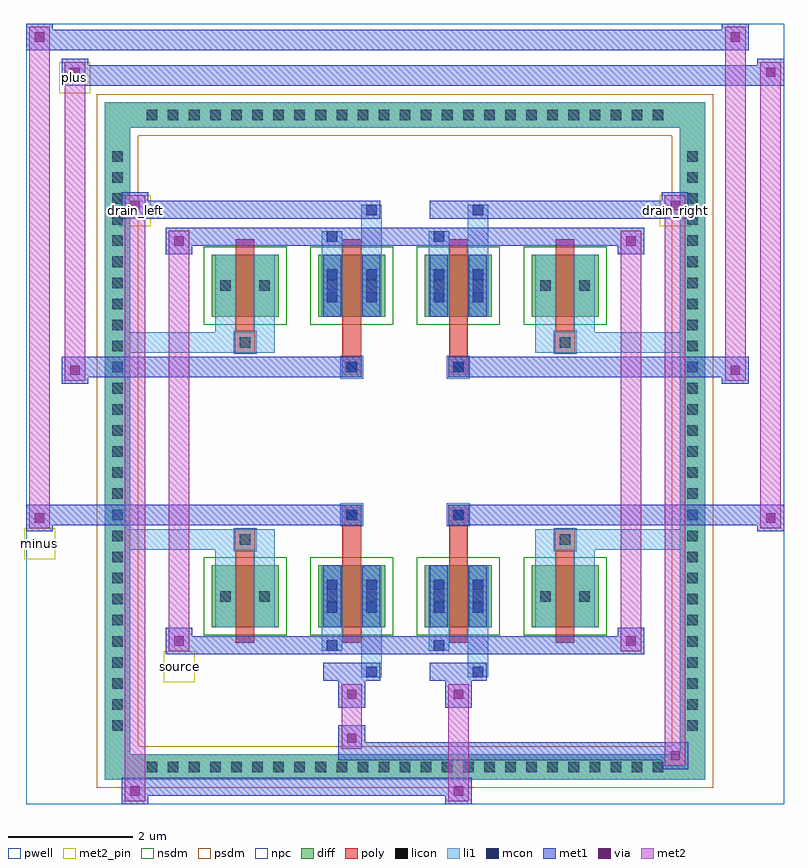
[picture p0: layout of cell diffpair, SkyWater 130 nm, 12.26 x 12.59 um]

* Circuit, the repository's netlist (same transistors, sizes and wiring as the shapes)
* NGSPICE file created from diffpair.ext - technology: sky130A

.subckt diffpair minus drain_right drain_left source plus
X0 a_n968_n1092# a_n968_n1092# a_n968_n1092# a_n968_n1092# sky130_fd_pr__nfet_01v8 ad=0.39 pd=2.78 as=3.12 ps=22.24 w=1 l=0.3
X1 drain_right minus source a_n968_n1092# sky130_fd_pr__nfet_01v8 ad=0.39 pd=2.78 as=0.39 ps=2.78 w=1 l=0.3
X2 drain_right minus source a_n968_n1092# sky130_fd_pr__nfet_01v8 ad=0.39 pd=2.78 as=0.39 ps=2.78 w=1 l=0.3
X3 a_n968_n1092# a_n968_n1092# a_n968_n1092# a_n968_n1092# sky130_fd_pr__nfet_01v8 ad=0.39 pd=2.78 as=0 ps=0 w=1 l=0.3
X4 a_n968_n1092# a_n968_n1092# a_n968_n1092# a_n968_n1092# sky130_fd_pr__nfet_01v8 ad=0.39 pd=2.78 as=0 ps=0 w=1 l=0.3
X5 drain_left plus source a_n968_n1092# sky130_fd_pr__nfet_01v8 ad=0.39 pd=2.78 as=0.39 ps=2.78 w=1 l=0.3
X6 a_n968_n1092# a_n968_n1092# a_n968_n1092# a_n968_n1092# sky130_fd_pr__nfet_01v8 ad=0.39 pd=2.78 as=0 ps=0 w=1 l=0.3
X7 drain_left plus source a_n968_n1092# sky130_fd_pr__nfet_01v8 ad=0.39 pd=2.78 as=0.39 ps=2.78 w=1 l=0.3
.ends

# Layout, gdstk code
import gdstk
lib = gdstk.Library(unit=1e-6, precision=5e-09)
def R(c, l, rs):  # rectangles x0, y0, x1, y1
    for r in rs: c.add(gdstk.rectangle(r[:2], r[2:], *l))
def A(c, l, x, y, w, h, nx, ny, dx, dy):  # array of equal rectangles
    R(c, l, [(x+i*dx, y+j*dy, x+i*dx+w, y+j*dy+h) for i in range(nx) for j in range(ny)])
def P(c, l, *ps):  # polygons
    for p in ps: c.add(gdstk.Polygon(p, *l))
pwell = (64, 44)
diff = (65, 20)
poly = (66, 20)
licon = (66, 44)
li1 = (67, 20)
mcon = (67, 44)
met1 = (68, 20)
via = (68, 44)
met2_pin = (69, 16)
met2 = (69, 20)
nsdm = (93, 44)
psdm = (94, 20)
npc = (95, 20)

diffpair = lib.new_cell('diffpair')
R(diffpair, pwell, [(-6.11,-5.86,6.11,6.73), (-3.43,-4.05,-0.01,-0.825), (0.01,-4.05,3.43,-0.825), (-3.43,0.825,-0.01,4.05), (0.01,0.825,3.43,4.05)])
A(diffpair, diff, -4.285, -5.46, 0.41, 0.41, 25, 2, 0.34, 10.51)
A(diffpair, diff, -4.84, -4.795, 0.41, 0.41, 1, 28, 0, 0.34)
A(diffpair, diff, 4.43, -4.795, 0.41, 0.41, 1, 28, 0, 0.34)
A(diffpair, diff, -3.12, -3.005, 1.08, 1, 4, 2, 1.72, 5.01)
R(diffpair, diff, [(-4.285,-5.46,4.285,-5.05), (-4.84,-4.795,-4.43,4.795), (4.43,-4.795,4.84,4.795), (-4.285,5.05,4.285,5.46)])
P(diffpair, diff, [(4.84,5.46),(-4.84,5.46),(-4.84,-5.05),(-4.43,-5.05),(-4.43,5.05),(4.43,5.05),(4.43,-5.05),(-4.43,-5.05),(-4.84,-5.05),(-4.84,-5.46),(4.84,-5.46)])
A(diffpair, poly, -2.73, -3.255, 0.3, 1.5, 4, 2, 1.72, 5.01)
R(diffpair, poly, [(-2.745,-1.755,-2.415,-1.425), (-2.745,-1.755,-2.415,-1.425), (-1.01,-1.755,-0.71,-1.355), (0.71,-1.755,1.01,-1.355), (2.415,-1.755,2.745,-1.425), (2.415,-1.755,2.745,-1.425), (-1.025,-1.355,-0.695,-1.025), (-1.025,-1.355,-0.695,-1.025), (0.695,-1.355,1.025,-1.025), (0.695,-1.355,1.025,-1.025), (-1.025,1.025,-0.695,1.355), (-1.025,1.025,-0.695,1.355), (0.695,1.025,1.025,1.355), (0.695,1.025,1.025,1.355), (-1.01,1.355,-0.71,1.755), (0.71,1.355,1.01,1.755), (-2.745,1.425,-2.415,1.755), (-2.745,1.425,-2.415,1.755), (2.415,1.425,2.745,1.755), (2.415,1.425,2.745,1.755)])
A(diffpair, licon, -4.165, -5.34, 0.17, 0.17, 25, 2, 0.34, 10.51)
A(diffpair, licon, -4.72, -4.675, 0.17, 0.17, 1, 28, 0, 0.34)
A(diffpair, licon, 4.55, -4.675, 0.17, 0.17, 1, 28, 0, 0.34)
R(diffpair, licon, [(-2.98,-2.59,-2.81,-2.42), (-2.35,-2.59,-2.18,-2.42), (-1.26,-2.59,-1.09,-2.42), (-0.63,-2.59,-0.46,-2.42), (0.46,-2.59,0.63,-2.42), (1.09,-2.59,1.26,-2.42), (2.18,-2.59,2.35,-2.42), (2.81,-2.59,2.98,-2.42), (-2.665,-1.675,-2.495,-1.505), (2.495,-1.675,2.665,-1.505), (-0.945,-1.275,-0.775,-1.105), (0.775,-1.275,0.945,-1.105), (-0.945,1.105,-0.775,1.275), (0.775,1.105,0.945,1.275), (-2.665,1.505,-2.495,1.675), (2.495,1.505,2.665,1.675), (-2.98,2.42,-2.81,2.59), (-2.35,2.42,-2.18,2.59), (-1.26,2.42,-1.09,2.59), (-0.63,2.42,-0.46,2.59), (0.46,2.42,0.63,2.59), (1.09,2.42,1.26,2.59), (2.18,2.42,2.35,2.59), (2.81,2.42,2.98,2.59)])
A(diffpair, li1, -4.245, -5.42, 0.33, 0.33, 25, 2, 0.34, 10.51)
A(diffpair, li1, -4.8, -4.755, 0.33, 0.33, 1, 28, 0, 0.34)
A(diffpair, li1, 4.47, -4.755, 0.33, 0.33, 1, 28, 0, 0.34)
R(diffpair, li1, [(-4.84,-5.46,-4.43,-5.05), (-4.84,-5.46,-4.43,-5.05), (-4.43,-5.46,4.43,-5.05), (4.43,-5.46,4.84,-5.05), (4.43,-5.46,4.84,-5.05), (-4.84,-5.05,-4.43,5.05), (4.43,-5.05,4.84,5.05), (-0.71,-3.81,-0.38,-3.005), (-0.63,-3.81,-0.46,-3.64), (1.01,-3.81,1.34,-3.005), (1.09,-3.81,1.26,-3.64), (-1.34,-3.38,-1.01,-3.005), (-1.26,-3.38,-1.09,-3.21), (0.38,-3.38,0.71,-3.005), (0.46,-3.38,0.63,-3.21), (-3.06,-3.005,-2.73,-2.005), (-2.43,-3.005,-2.1,-2.005), (-1.34,-3.005,-1.01,-2.005), (-0.71,-3.005,-0.38,-2.005), (0.38,-3.005,0.71,-2.005), (1.01,-3.005,1.34,-2.005), (2.1,-3.005,2.43,-2.005), (2.73,-3.005,3.06,-2.005), (-1.26,-2.77,-1.09,-2.6), (-1.26,-2.77,-1.09,-2.24), (-0.63,-2.77,-0.46,-2.6), (-0.63,-2.77,-0.46,-2.24), (0.46,-2.77,0.63,-2.6), (0.46,-2.77,0.63,-2.24), (1.09,-2.77,1.26,-2.6), (1.09,-2.77,1.26,-2.24), (-3.06,-2.67,-2.73,-2.34), (-2.43,-2.67,-2.1,-2.34), (-1.34,-2.67,-1.01,-2.34), (-0.71,-2.67,-0.38,-2.34), (0.38,-2.67,0.71,-2.34), (1.01,-2.67,1.34,-2.34), (2.1,-2.67,2.43,-2.34), (2.73,-2.67,3.06,-2.34), (-1.26,-2.41,-1.09,-2.24), (-0.63,-2.41,-0.46,-2.24), (0.46,-2.41,0.63,-2.24), (1.09,-2.41,1.26,-2.24), (-3.06,-2.005,-2.73,-1.425), (-2.43,-2.005,-2.1,-1.425), (2.1,-2.005,2.43,-1.425), (2.73,-2.005,3.06,-1.425), (-4.84,-1.755,-2.745,-1.425), (-3.06,-1.755,-2.745,-1.425), (-2.745,-1.755,-2.415,-1.425), (-2.415,-1.755,-2.1,-1.425), (2.1,-1.755,2.415,-1.425), (2.415,-1.755,2.745,-1.425), (2.415,-1.755,4.84,-1.425), (2.745,-1.755,3.06,-1.425), (-1.025,-1.355,-0.695,-1.025), (0.695,-1.355,1.025,-1.025), (-1.025,1.025,-0.695,1.355), (0.695,1.025,1.025,1.355), (-4.84,1.425,-2.745,1.755), (-3.06,1.425,-2.745,1.755), (-3.06,1.425,-2.73,2.005), (-2.745,1.425,-2.415,1.755), (-2.43,1.425,-2.1,2.005), (-2.415,1.425,-2.1,1.755), (2.1,1.425,2.415,1.755), (2.1,1.425,2.43,2.005), (2.415,1.425,2.745,1.755), (2.415,1.425,4.84,1.755), (2.73,1.425,3.06,2.005), (2.745,1.425,3.06,1.755), (-3.06,2.005,-2.73,3.005), (-2.43,2.005,-2.1,3.005), (-1.34,2.005,-1.01,3.005), (-0.71,2.005,-0.38,3.005), (0.38,2.005,0.71,3.005), (1.01,2.005,1.34,3.005), (2.1,2.005,2.43,3.005), (2.73,2.005,3.06,3.005), (-1.26,2.24,-1.09,2.41), (-1.26,2.24,-1.09,2.77), (-0.63,2.24,-0.46,2.41), (-0.63,2.24,-0.46,2.77), (0.46,2.24,0.63,2.41), (0.46,2.24,0.63,2.77), (1.09,2.24,1.26,2.41), (1.09,2.24,1.26,2.77), (-3.06,2.34,-2.73,2.67), (-2.43,2.34,-2.1,2.67), (-1.34,2.34,-1.01,2.67), (-0.71,2.34,-0.38,2.67), (0.38,2.34,0.71,2.67), (1.01,2.34,1.34,2.67), (2.1,2.34,2.43,2.67), (2.73,2.34,3.06,2.67), (-1.26,2.6,-1.09,2.77), (-0.63,2.6,-0.46,2.77), (0.46,2.6,0.63,2.77), (1.09,2.6,1.26,2.77), (-1.34,3.005,-1.01,3.38), (-0.71,3.005,-0.38,3.81), (0.38,3.005,0.71,3.38), (1.01,3.005,1.34,3.81), (-1.26,3.21,-1.09,3.38), (0.46,3.21,0.63,3.38), (-0.63,3.64,-0.46,3.81), (1.09,3.64,1.26,3.81), (-4.84,5.05,-4.43,5.46), (-4.84,5.05,-4.43,5.46), (-4.43,5.05,4.43,5.46), (4.43,5.05,4.84,5.46), (4.43,5.05,4.84,5.46)])
R(diffpair, mcon, [(-0.63,-3.81,-0.46,-3.64), (1.09,-3.81,1.26,-3.64), (-1.26,-3.38,-1.09,-3.21), (0.46,-3.38,0.63,-3.21), (-1.26,-2.77,-1.09,-2.6), (-0.63,-2.77,-0.46,-2.6), (0.46,-2.77,0.63,-2.6), (1.09,-2.77,1.26,-2.6), (-1.26,-2.41,-1.09,-2.24), (-0.63,-2.41,-0.46,-2.24), (0.46,-2.41,0.63,-2.24), (1.09,-2.41,1.26,-2.24), (-0.945,-1.275,-0.775,-1.105), (0.775,-1.275,0.945,-1.105), (-0.945,1.105,-0.775,1.275), (0.775,1.105,0.945,1.275), (-1.26,2.24,-1.09,2.41), (-0.63,2.24,-0.46,2.41), (0.46,2.24,0.63,2.41), (1.09,2.24,1.26,2.41), (-1.26,2.6,-1.09,2.77), (-0.63,2.6,-0.46,2.77), (0.46,2.6,0.63,2.77), (1.09,2.6,1.26,2.77), (-1.26,3.21,-1.09,3.38), (0.46,3.21,0.63,3.38), (-0.63,3.64,-0.46,3.81), (1.09,3.64,1.26,3.81)])
R(diffpair, met1, [(-4.57,-5.86,-4.14,-5.43), (0.645,-5.86,1.075,-5.43), (-4.57,-5.72,1.075,-5.43), (4.14,-5.29,4.57,-4.86), (-1.075,-5.15,4.57,-4.86), (-1.075,-5.01,-0.645,-4.58), (-1.075,-4.3,-0.645,-3.87), (0.645,-4.3,1.075,-3.87), (-1.32,-3.87,-0.4,-3.58), (-0.69,-3.87,-0.4,-3.58), (0.4,-3.87,1.32,-3.58), (1.03,-3.87,1.32,-3.58), (-3.86,-3.44,-3.43,-3.01), (-3.86,-3.44,-1.32,-3.15), (-1.32,-3.44,-1.03,-3.15), (-1.32,-3.44,-0.4,-3.15), (-0.4,-3.44,0.4,-3.15), (0.4,-3.44,0.69,-3.15), (0.4,-3.44,1.32,-3.15), (1.32,-3.44,3.86,-3.15), (3.43,-3.44,3.86,-3.01), (-1.32,-3.005,-1.03,-2.005), (-0.69,-3.005,-0.4,-2.005), (0.4,-3.005,0.69,-2.005), (1.03,-3.005,1.32,-2.005), (-1.32,-2.83,-1.03,-2.54), (-0.69,-2.83,-0.4,-2.54), (0.4,-2.83,0.69,-2.54), (1.03,-2.83,1.32,-2.54), (-1.32,-2.47,-1.03,-2.18), (-0.69,-2.47,-0.4,-2.18), (0.4,-2.47,0.69,-2.18), (1.03,-2.47,1.32,-2.18), (-6.11,-1.455,-5.68,-1.025), (5.68,-1.455,6.11,-1.025), (-6.11,-1.355,-0.695,-1.025), (-1.025,-1.355,-0.695,-1.025), (0.695,-1.355,1.025,-1.025), (0.695,-1.355,6.11,-1.025), (-1.005,-1.335,-0.715,-1.045), (0.715,-1.335,1.005,-1.045), (-5.54,0.925,-5.11,1.355), (5.11,0.925,5.54,1.355), (-5.54,1.025,-1.025,1.355), (-1.025,1.025,-0.695,1.355), (0.695,1.025,1.025,1.355), (1.025,1.025,5.54,1.355), (-1.005,1.045,-0.715,1.335), (0.715,1.045,1.005,1.335), (-1.32,2.005,-1.03,3.005), (-0.69,2.005,-0.4,3.005), (0.4,2.005,0.69,3.005), (1.03,2.005,1.32,3.005), (-1.32,2.18,-1.03,2.47), (-0.69,2.18,-0.4,2.47), (0.4,2.18,0.69,2.47), (1.03,2.18,1.32,2.47), (-1.32,2.54,-1.03,2.83), (-0.69,2.54,-0.4,2.83), (0.4,2.54,0.69,2.83), (1.03,2.54,1.32,2.83), (-3.86,3.01,-3.43,3.44), (3.43,3.01,3.86,3.44), (-3.86,3.15,-1.32,3.44), (-1.32,3.15,-1.03,3.44), (-1.32,3.15,-0.4,3.44), (-0.4,3.15,0.4,3.44), (0.4,3.15,0.69,3.44), (0.4,3.15,1.32,3.44), (1.32,3.15,3.86,3.44), (-4.57,3.58,-4.14,4.01), (-4.57,3.58,-1.32,3.87), (-1.32,3.58,-0.4,3.87), (-0.69,3.58,-0.4,3.87), (0.4,3.58,1.32,3.87), (1.03,3.58,1.32,3.87), (1.32,3.58,4.57,3.87), (4.14,3.58,4.57,4.01), (-5.54,5.73,-5.11,6.16), (-5.54,5.73,-3.43,6.06), (-3.43,5.73,3.43,6.06), (3.43,5.73,6.11,6.06), (5.68,5.73,6.11,6.16), (-6.11,6.3,-5.68,6.73), (-6.11,6.3,-3.43,6.63), (-3.43,6.3,3.43,6.63), (3.43,6.3,5.54,6.63), (5.11,6.3,5.54,6.73)])
R(diffpair, via, [(-4.43,-5.72,-4.28,-5.57), (0.785,-5.72,0.935,-5.57), (4.28,-5.15,4.43,-5), (-0.935,-4.87,-0.785,-4.72), (-0.935,-4.16,-0.785,-4.01), (0.785,-4.16,0.935,-4.01), (-3.72,-3.3,-3.57,-3.15), (3.57,-3.3,3.72,-3.15), (-5.97,-1.315,-5.82,-1.165), (5.82,-1.315,5.97,-1.165), (-5.4,1.065,-5.25,1.215), (5.25,1.065,5.4,1.215), (-3.72,3.15,-3.57,3.3), (3.57,3.15,3.72,3.3), (-4.43,3.72,-4.28,3.87), (4.28,3.72,4.43,3.87), (-5.4,5.87,-5.25,6.02), (5.82,5.87,5.97,6.02), (-5.97,6.44,-5.82,6.59), (5.25,6.44,5.4,6.59)])
R(diffpair, met2_pin, [(-3.895,-3.89,-3.395,-3.39), (-6.145,-1.905,-5.645,-1.405), (-4.605,3.46,-4.105,3.96), (4.105,3.46,4.605,3.96), (-5.575,5.61,-5.075,6.11)])
R(diffpair, met2, [(-4.52,-5.81,-4.19,-5.48), (-4.52,-5.81,-4.19,3.96), (0.695,-5.81,1.025,-5.48), (0.695,-5.48,1.025,-4.25), (4.19,-5.24,4.52,-4.91), (4.19,-5.24,4.52,3.96), (-1.025,-4.96,-0.695,-4.63), (-1.025,-4.63,-0.695,-4.25), (-1.025,-4.25,-0.695,-3.92), (0.695,-4.25,1.025,-3.92), (-3.81,-3.39,-3.48,-3.06), (-3.81,-3.39,-3.48,3.39), (3.48,-3.39,3.81,-3.06), (3.48,-3.39,3.81,3.39), (-6.06,-1.405,-5.73,-1.075), (-6.06,-1.405,-5.73,6.68), (5.73,-1.405,6.06,-1.075), (5.73,-1.405,6.06,6.11), (-5.49,0.975,-5.16,1.305), (-5.49,0.975,-5.16,6.11), (5.16,0.975,5.49,1.305), (5.16,0.975,5.49,6.68), (-3.81,3.06,-3.48,3.39), (3.48,3.06,3.81,3.39), (-4.52,3.63,-4.19,3.96), (4.19,3.63,4.52,3.96), (-5.49,5.78,-5.16,6.11), (5.73,5.78,6.06,6.11), (-6.06,6.35,-5.73,6.68), (5.16,6.35,5.49,6.68)])
P(diffpair, met2, [(6.06,-1.405),(6.06,-1.405),(6.06,-1.075),(6.06,-1.075)],
  [(6.06,5.78),(6.06,5.78),(6.06,6.11),(6.06,6.11)],
  [(-5.73,-1.405),(-5.73,-1.405),(-5.73,-1.075),(-5.73,-1.075)],
  [(-5.73,6.35),(-5.73,6.35),(-5.73,6.68),(-5.73,6.68)],
  [(5.49,0.975),(5.49,0.975),(5.49,1.305),(5.49,1.305)],
  [(5.49,6.35),(5.49,6.35),(5.49,6.68),(5.49,6.68)],
  [(-5.16,0.975),(-5.16,0.975),(-5.16,1.305),(-5.16,1.305)],
  [(-5.16,5.78),(-5.16,5.78),(-5.16,6.11),(-5.16,6.11)],
  [(-4.19,-5.81),(-4.19,-5.81),(-4.19,-5.48),(-4.19,-5.48)],
  [(-4.19,3.63),(-4.19,3.63),(-4.19,3.96),(-4.19,3.96)],
  [(4.52,-5.24),(4.52,-5.24),(4.52,-4.91),(4.52,-4.91)],
  [(4.52,3.63),(4.52,3.63),(4.52,3.96),(4.52,3.96)],
  [(-3.48,-3.39),(-3.48,-3.39),(-3.48,-3.06),(-3.48,-3.06)],
  [(-3.48,3.06),(-3.48,3.06),(-3.48,3.39),(-3.48,3.39)],
  [(3.81,-3.39),(3.81,-3.39),(3.81,-3.06),(3.81,-3.06)],
  [(3.81,3.06),(3.81,3.06),(3.81,3.39),(3.81,3.39)])
A(diffpair, nsdm, -3.25, -3.135, 1.34, 1.26, 4, 2, 1.72, 5.01)
P(diffpair, psdm, [(4.97,5.59),(-4.97,5.59),(-4.97,-4.92),(-4.3,-4.92),(-4.3,4.92),(4.3,4.92),(4.3,-4.92),(-4.3,-4.92),(-4.97,-4.92),(-4.97,-5.59),(4.97,-5.59)])
R(diffpair, npc, [(-2.765,-1.775,-2.395,-1.405), (2.395,-1.775,2.765,-1.405), (-1.045,-1.375,-0.675,-1.005), (0.675,-1.375,1.045,-1.005), (-1.045,1.005,-0.675,1.375), (0.675,1.005,1.045,1.375), (-2.765,1.405,-2.395,1.775), (2.395,1.405,2.765,1.775)])
diffpair.add(gdstk.Label('minus', (-5.895,-1.655), layer=69, texttype=5))
diffpair.add(gdstk.Label('drain_right', (4.355,3.71), layer=69, texttype=5))
diffpair.add(gdstk.Label('drain_left', (-4.355,3.71), layer=69, texttype=5))
diffpair.add(gdstk.Label('source', (-3.645,-3.64), layer=69, texttype=5))
diffpair.add(gdstk.Label('plus', (-5.325,5.86), layer=69, texttype=5))

lib.write_gds('diffpair.gds')
